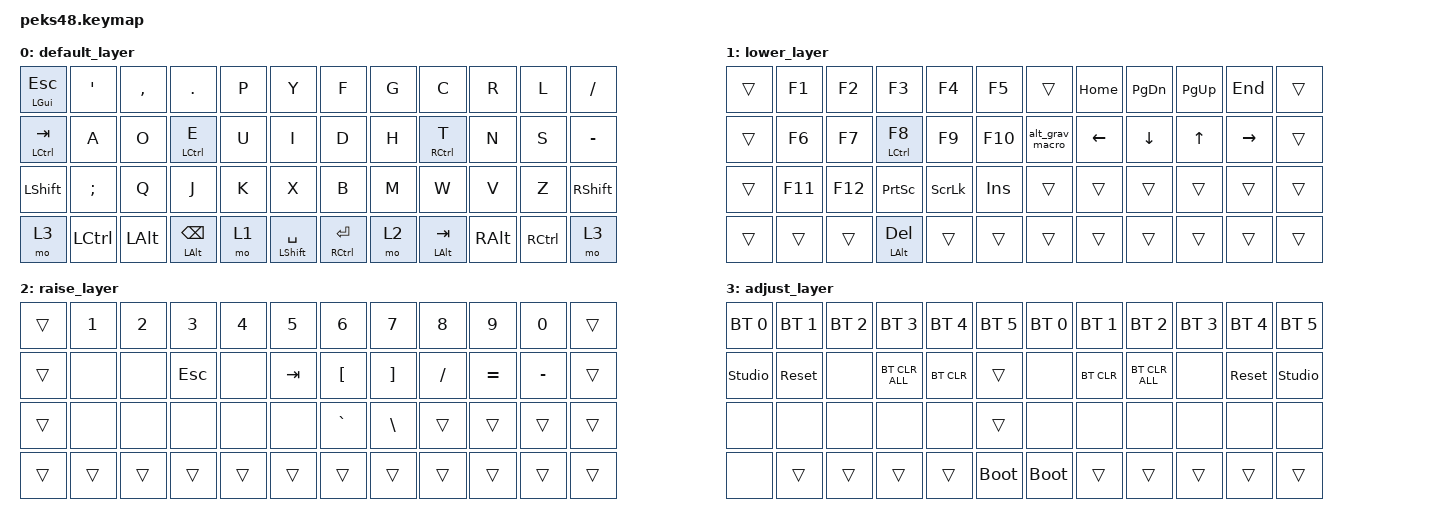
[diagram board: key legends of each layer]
#include <input/processors.dtsi>
#include <dt-bindings/zmk/input_transform.h>
#include <zephyr/dt-bindings/input/input-event-codes.h>
#include <behaviors.dtsi>
#include <dt-bindings/zmk/bt.h>
#include <dt-bindings/zmk/keys.h>

/ {
    behaviors {
        mt: mod_tap {
            compatible = "zmk,behavior-hold-tap";
            #binding-cells = <2>;

            // --- ここからがカスタマイズ項目です ---
            // タップとホールドを認識する時間。200msに設定。

            tapping-term-ms = <200>;

            // 'tap-preferred'フレーバーを選択。
            // これにより、高速でキーを連続入力（ローリング）した際に、
            // ホールド（モディファイア）が誤爆するのを防ぎます。
            // QMKの`IGNORE_MOD_TAP_INTERRUPT`に近い挙動です。

            flavor = "tap-preferred";

            // (オプション) この時間内の素早い連続タップは、強制的にタップとして扱います。
            // これにより、スペースキーやエンターキーの連続タップがより確実になります。

            quick-tap-ms = <150>;

            // --- ここまでがカスタマイズ項目です ---

            bindings = <&kp>, <&kp>;
        };

        // Alt + ` マクロ (ALT_GRV) の定義
        // 日本語入力のオンオフで、ChromeでAltキーが暴発するための対策マクロ

        alt_grav_macro: alt_grav_macro {
            compatible = "zmk,behavior-macro";
            #binding-cells = <0>;
            bindings =
                <&macro_press>,
                <&kp LALT>,
                <&macro_tap>,
                <&kp GRAVE>,
                <&macro_release>,
                <&kp LALT>;
        };
    };

    macros {
    };

    keymap {
        compatible = "zmk,keymap";

        default_layer {
            bindings = <
&mt LGUI ESC   &kp SQT        &kp COMMA  &kp DOT             &kp P  &kp Y               &kp F            &kp G  &kp C                &kp R     &kp L      &kp SLASH
&mt LCTRL TAB  &kp A          &kp O      &mt LEFT_CONTROL E  &kp U  &kp I               &kp D            &kp H  &mt RIGHT_CONTROL T  &kp N     &kp S      &kp MINUS
&kp LSHFT      &kp SEMICOLON  &kp Q      &kp J               &kp K  &kp X               &kp B            &kp M  &kp W                &kp V     &kp Z      &kp RSHIFT
&mo 3          &kp LCTRL      &kp LALT   &mt LALT BSPC       &mo 1  &mt LSHIFT SPACE    &mt RCTRL ENTER  &mo 2  &mt LALT TAB         &kp RALT  &kp RCTRL  &mo 3
            >;
        };

        // レイヤー 1: _LOWER

        lower_layer {
            bindings = <
&trans  &kp F1   &kp F2   &kp F3               &kp F4    &kp F5     &trans           &kp HOME  &kp PAGE_DOWN  &kp PAGE_UP  &kp END    &trans
&trans  &kp F6   &kp F7   &mt LEFT_CONTROL F8  &kp F9    &kp F10    &alt_grav_macro  &kp LEFT  &kp DOWN       &kp UP       &kp RIGHT  &trans
&trans  &kp F11  &kp F12  &kp PSCRN            &kp SLCK  &kp INS    &trans           &trans    &trans         &trans       &trans     &trans
&trans  &trans   &trans   &mt LALT DEL         &trans    &trans     &trans           &trans    &trans         &trans       &trans     &trans
            >;
        };

        // レイヤー 2: _RAISE

        raise_layer {
            bindings = <
&trans  &kp N1  &kp N2  &kp N3   &kp N4  &kp N5     &kp N6     &kp N7    &kp N8     &kp N9     &kp N0     &trans
&trans  &none   &none   &kp ESC  &none   &kp TAB    &kp LBKT   &kp RBKT  &kp SLASH  &kp EQUAL  &kp MINUS  &trans
&trans  &none   &none   &none    &none   &none      &kp GRAVE  &kp BSLH  &trans     &trans     &trans     &trans
&trans  &trans  &trans  &trans   &trans  &trans     &trans     &trans    &trans     &trans     &trans     &trans
            >;
        };

        // レイヤー 3: _ADJUST

        adjust_layer {
            bindings = <
&bt BT_SEL 0    &bt BT_SEL 1  &bt BT_SEL 2  &bt BT_SEL 3    &bt BT_SEL 4  &bt BT_SEL 5    &bt BT_SEL 0  &bt BT_SEL 1  &bt BT_SEL 2    &bt BT_SEL 3  &bt BT_SEL 4  &bt BT_SEL 5
&studio_unlock  &sys_reset    &none         &bt BT_CLR_ALL  &bt BT_CLR    &trans          &none         &bt BT_CLR    &bt BT_CLR_ALL  &none         &sys_reset    &studio_unlock
&none           &none         &none         &none           &none         &trans          &none         &none         &none           &none         &none         &none
&none           &trans        &trans        &trans          &trans        &bootloader     &bootloader   &trans        &trans          &trans        &trans        &trans
            >;
        };
    };
};
